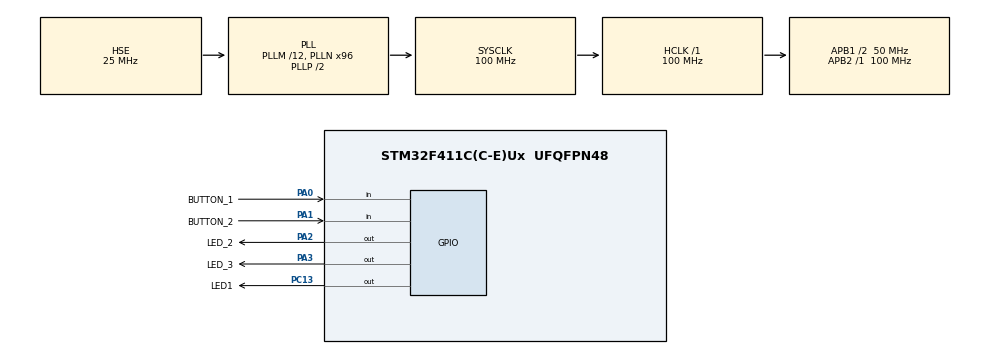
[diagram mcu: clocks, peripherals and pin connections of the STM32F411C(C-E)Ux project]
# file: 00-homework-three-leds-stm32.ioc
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Mcu.Family=STM32F4
Mcu.Name=STM32F411C(C-E)Ux
Mcu.Package=UFQFPN48
NVIC.PriorityGroup=NVIC_PRIORITYGROUP_4
PA0-WKUP.GPIO_Label=BUTTON_1
PA0-WKUP.GPIO_PuPd=GPIO_PULLUP
PA0-WKUP.Signal=GPIO_Input
PA1.GPIO_Label=BUTTON_2
PA1.GPIO_PuPd=GPIO_PULLUP
PA1.Signal=GPIO_Input
PA13.Mode=Serial_Wire
PA13.Signal=SYS_JTMS-SWDIO
PA14.Mode=Serial_Wire
PA14.Signal=SYS_JTCK-SWCLK
PA2.GPIO_Label=LED_2
PA2.Signal=GPIO_Output
PA3.GPIO_Label=LED_3
PA3.Signal=GPIO_Output
PC13-ANTI_TAMP.GPIO_Label=LED1
PC13-ANTI_TAMP.Signal=GPIO_Output
PH0\ -\ OSC_IN.Mode=HSE-External-Oscillator
PH0\ -\ OSC_IN.Signal=RCC_OSC_IN
PH1\ -\ OSC_OUT.Mode=HSE-External-Oscillator
PH1\ -\ OSC_OUT.Signal=RCC_OSC_OUT
ProjectManager.HeapSize=0x200
ProjectManager.StackSize=0x400
ProjectManager.TargetToolchain=STM32CubeIDE
RCC.48MHZClocksFreq_Value=50000000
RCC.AHBFreq_Value=100000000
RCC.APB1CLKDivider=RCC_HCLK_DIV2
RCC.APB1Freq_Value=50000000
RCC.APB1TimFreq_Value=100000000
RCC.APB2Freq_Value=100000000
RCC.APB2TimFreq_Value=100000000
RCC.CortexFreq_Value=100000000
RCC.HCLKFreq_Value=100000000
RCC.HSE_VALUE=25000000
RCC.HSI_VALUE=16000000
RCC.LSE_VALUE=32768
RCC.PLLM=12
RCC.PLLN=96
RCC.PLLSourceVirtual=RCC_PLLSOURCE_HSE
RCC.SYSCLKFreq_VALUE=100000000
RCC.SYSCLKSource=RCC_SYSCLKSOURCE_PLLCLK
RCC.VCOOutputFreq_Value=200000000
board=custom

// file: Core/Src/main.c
/* USER CODE BEGIN Header */
/**
  ******************************************************************************
  * @file           : main.c
  * @brief          : Main program body
  ******************************************************************************
  * @attention
  *
  * Copyright (c) 2026 STMicroelectronics.
  * All rights reserved.
  *
  * This software is licensed under terms that can be found in the LICENSE file
  * in the root directory of this software component.
  * If no LICENSE file comes with this software, it is provided AS-IS.
  *
  ******************************************************************************
  */
/* USER CODE END Header */
#include "main.h"

void SystemClock_Config(void);
static void MX_GPIO_Init(void);

/* USER CODE BEGIN 0 */
uint32_t loop_timestamp_aka_now = 0u;

typedef struct
{
	GPIO_TypeDef * port;
	uint32_t pin;
	uint32_t half_period;   // ms between toggles: a full blink takes twice this
	uint32_t last_change_timestamp;
} LED_type_t;

// designated initializers: fields not named start at 0
LED_type_t LEDS[3] =
{
	[0] = {.pin = LED1_Pin, .port = LED1_GPIO_Port, .last_change_timestamp = 0u, .half_period = 100},   // onboard PC13, lit on LOW
	[1] = {.pin = LED_2_Pin, .port = LED_2_GPIO_Port, .last_change_timestamp = 0u, .half_period = 250},
	[2] = {.pin = LED_3_Pin, .port = LED_3_GPIO_Port, .last_change_timestamp = 0u, .half_period = 500},
};

uint8_t paused = 0;   // 1 = all LEDs frozen in their current state
GPIO_PinState last_btn2_state = GPIO_PIN_SET;   // level on the previous pass; SET = released (pull-up)
GPIO_PinState last_key_state = GPIO_PIN_SET;   // KEY has its own memory, so one button never resets the other

/* USER CODE END 0 */

int main(void)
{

  /* MCU Configuration--------------------------------------------------------*/

  /* Reset of all peripherals, Initializes the Flash interface and the Systick. */
  HAL_Init();

  /* Configure the system clock */
  SystemClock_Config();

  /* Initialize all configured peripherals */
  MX_GPIO_Init();

  /* Infinite loop */
  /* USER CODE BEGIN WHILE */
  while (1)
  {

	  loop_timestamp_aka_now = HAL_GetTick();   // one timestamp for the whole pass

	  GPIO_PinState btn2_state = HAL_GPIO_ReadPin(BUTTON_2_GPIO_Port, BUTTON_2_Pin);   // PA1 to GND: RESET = held

	  // press edge: released last pass, held now; true on one pass per press
	  if (last_btn2_state == GPIO_PIN_SET && btn2_state == GPIO_PIN_RESET)
		  {
			  paused = !paused;
		  }
	  last_btn2_state = btn2_state;   // every pass, outside the if

	  GPIO_PinState key_state = HAL_GPIO_ReadPin(BUTTON_1_GPIO_Port, BUTTON_1_Pin);   // PA0 (KEY): 330 R to GND, internal pull-up

	  // each press moves PA3 (LEDS[2]) to the next interval: 500 -> 250 -> 100 -> 500
	  if (last_key_state == GPIO_PIN_SET && key_state == GPIO_PIN_RESET)
	  {
		  if (LEDS[2].half_period == 500)   // the array element itself, so '.' and no pointer
		  {
			  LEDS[2].half_period = 250;
		  }
		  else if (LEDS[2].half_period == 250)
		  {
			  LEDS[2].half_period = 100;
		  }
		  else   // 100 or anything unexpected: back to the start
		  {
			  LEDS[2].half_period = 500;
		  }
	  }
	  last_key_state = key_state;

	  for (uint8_t led_idx = 0; led_idx < 3 && !paused; led_idx++)   // paused: no LED is touched
		  {
			  LED_type_t* led = &LEDS[led_idx];   // pointer to the array element, not a copy

			  // unsigned subtraction stays right when HAL_GetTick() wraps (~49.7 days)
			  if ((uint32_t)(loop_timestamp_aka_now - led->last_change_timestamp) >= led->half_period)
			  {
				  HAL_GPIO_TogglePin(led->port, led->pin);
				  led->last_change_timestamp = loop_timestamp_aka_now;   // through the pointer: changes LEDS[led_idx] itself
			  }
		  }
    /* USER CODE END WHILE */

  }
}

void SystemClock_Config(void)
{
  RCC_OscInitTypeDef RCC_OscInitStruct = {0};
  RCC_ClkInitTypeDef RCC_ClkInitStruct = {0};

  /** Configure the main internal regulator output voltage
  */
  __HAL_RCC_PWR_CLK_ENABLE();
  __HAL_PWR_VOLTAGESCALING_CONFIG(PWR_REGULATOR_VOLTAGE_SCALE1);

  /** Initializes the RCC Oscillators according to the specified parameters
  * in the RCC_OscInitTypeDef structure.
  */
  RCC_OscInitStruct.OscillatorType = RCC_OSCILLATORTYPE_HSE;
  RCC_OscInitStruct.HSEState = RCC_HSE_ON;
  RCC_OscInitStruct.PLL.PLLState = RCC_PLL_ON;
  RCC_OscInitStruct.PLL.PLLSource = RCC_PLLSOURCE_HSE;
  RCC_OscInitStruct.PLL.PLLM = 12;
  RCC_OscInitStruct.PLL.PLLN = 96;
  RCC_OscInitStruct.PLL.PLLP = RCC_PLLP_DIV2;
  RCC_OscInitStruct.PLL.PLLQ = 4;
  if (HAL_RCC_OscConfig(&RCC_OscInitStruct) != HAL_OK)
  {
    Error_Handler();
  }

  /** Initializes the CPU, AHB and APB buses clocks
  */
  RCC_ClkInitStruct.ClockType = RCC_CLOCKTYPE_HCLK|RCC_CLOCKTYPE_SYSCLK
                              |RCC_CLOCKTYPE_PCLK1|RCC_CLOCKTYPE_PCLK2;
  RCC_ClkInitStruct.SYSCLKSource = RCC_SYSCLKSOURCE_PLLCLK;
  RCC_ClkInitStruct.AHBCLKDivider = RCC_SYSCLK_DIV1;
  RCC_ClkInitStruct.APB1CLKDivider = RCC_HCLK_DIV2;
  RCC_ClkInitStruct.APB2CLKDivider = RCC_HCLK_DIV1;

  if (HAL_RCC_ClockConfig(&RCC_ClkInitStruct, FLASH_LATENCY_3) != HAL_OK)
  {
    Error_Handler();
  }
}

static void MX_GPIO_Init(void)
{
  GPIO_InitTypeDef GPIO_InitStruct = {0};

  /* GPIO Ports Clock Enable */
  __HAL_RCC_GPIOC_CLK_ENABLE();
  __HAL_RCC_GPIOH_CLK_ENABLE();
  __HAL_RCC_GPIOA_CLK_ENABLE();

  /*Configure GPIO pin Output Level */
  HAL_GPIO_WritePin(LED1_GPIO_Port, LED1_Pin, GPIO_PIN_RESET);

  /*Configure GPIO pin Output Level */
  HAL_GPIO_WritePin(GPIOA, LED_2_Pin|LED_3_Pin, GPIO_PIN_RESET);

  /*Configure GPIO pin : LED1_Pin */
  GPIO_InitStruct.Pin = LED1_Pin;
  GPIO_InitStruct.Mode = GPIO_MODE_OUTPUT_PP;
  GPIO_InitStruct.Pull = GPIO_NOPULL;
  GPIO_InitStruct.Speed = GPIO_SPEED_FREQ_LOW;
  HAL_GPIO_Init(LED1_GPIO_Port, &GPIO_InitStruct);

  /*Configure GPIO pins : BUTTON_1_Pin BUTTON_2_Pin */
  GPIO_InitStruct.Pin = BUTTON_1_Pin|BUTTON_2_Pin;
  GPIO_InitStruct.Mode = GPIO_MODE_INPUT;
  GPIO_InitStruct.Pull = GPIO_PULLUP;
  HAL_GPIO_Init(GPIOA, &GPIO_InitStruct);

  /*Configure GPIO pins : LED_2_Pin LED_3_Pin */
  GPIO_InitStruct.Pin = LED_2_Pin|LED_3_Pin;
  GPIO_InitStruct.Mode = GPIO_MODE_OUTPUT_PP;
  GPIO_InitStruct.Pull = GPIO_NOPULL;
  GPIO_InitStruct.Speed = GPIO_SPEED_FREQ_LOW;
  HAL_GPIO_Init(GPIOA, &GPIO_InitStruct);

}

void Error_Handler(void)
{
  __disable_irq();
  while (1)
  {
  }
}
